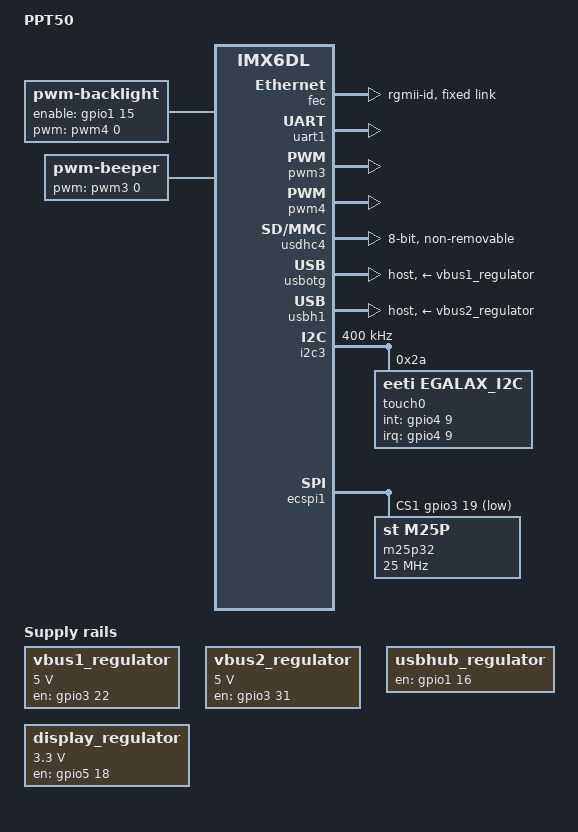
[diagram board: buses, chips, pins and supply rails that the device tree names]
// SPDX-License-Identifier: GPL-2.0+
/*
 * Copyright 2018 B&R Industrial Automation GmbH
 * Copyright 2012 Freescale Semiconductor, Inc.
 * Copyright 2011 Linaro Ltd.
 *
 * The code contained herein is licensed under the GNU General Public
 * License. You may obtain a copy of the GNU General Public License
 * Version 2 or later at the following locations:
 *
 * http://www.opensource.org/licenses/gpl-license.html
 * http://www.gnu.org/copyleft/gpl.html
 */

/dts-v1/;

#include "imx6dl.dtsi"
#include "imx6qdl-u-boot.dtsi"
#include <dt-bindings/pwm/pwm.h>
#include <include/dt-bindings/gpio/gpio.h>

/ {
	model = "PPT50";
	compatible = "fsl,imx6dl";

	config {
		u-boot,spl-payload-offset = <0x100000>;
	};

	fset: factory-settings {
		bl-version	= "ABCDEFGHIJKLMNOPQRSTUVWXYZ0123456789";
		order-no	= "ABCDEFGHIJKLMNOPQRSTUVWXYZ0123456789";
		hw-revision	= "ABCDEFGHIJKLMNOPQRSTUVWXYZ0123456789";
		serial-no	= <0>;
		device-id	= <0x0>;
		parent-id	= <0x0>;
		hw-variant	= <0x0>;
	};

	aliases {
		ds1timing0 = &timing0;
		ds1timing1 = &timing1;
		ds1bkl = &backlight;
		fset = &fset;
		mxcfb0 = &mxcfb0;
		touch0 = &touch0;
		touch1 = &touch1;
		touch2 = &touch2;
		display_regulator = &display_regulator;
		ldb = &ldb;
		mmc0 = &usdhc4;
	};

	chosen {
		stdout-path = "serial0:115200n8";
	};

	mxcfb0: fb@0 {
		compatible = "fsl,mxc_sdc_fb";
		disp_dev = "ldb";
		interface_pix_fmt = "RGB24";
		default_bpp = <32>;
		int_clk = <0>;
		late_init = <0>;
		rotation = <0>;
		status = "okay";
	};

	lcd@0 {
		compatible = "fsl,lcd";
		vlcd-supply = <&display_regulator>;
		ipu_id = <0>;
		disp_id = <0>;
		default_ifmt = "RGB24";
		status = "disabled";

		display-timings {
			native-mode = <&timing1>;
			timing1: lcd {
			};
		};
	};

	backlight: backlight {
		compatible = "pwm-backlight";
		pwms = <&pwm4 0 5000000>;
		brightness-levels = <0   1   2   3   4   5   6   7
			  8   9  10  11  12  13  14  15
			 16  17  18  19  20  21  22  23
			 24  25  26  27  28  29  30  31
			 32  33  34  35  36  37  38  39
			 40  41  42  43  44  45  46  47
			 48  49  50  51  52  53  54  55
			 56  57  58  59  60  61  62  63
			 64  65  66  67  68  69  70  71
			 72  73  74  75  76  77  78  79
			 80  81  82  83  84  85  86  87
			 88  89  90  91  92  93  94  95
			 96  97  98  99 100>;
		default-brightness-level = <0>;
		status = "okay";

		enable-gpios = <&gpio1 15 GPIO_ACTIVE_HIGH>;
	};

	beeper: pwm-beep {
		compatible = "pwm-beeper";
		pwms = <&pwm3 0 0 0>;
	};

	vbus1_regulator: regulator@1 {
		bootph-all;
		compatible = "regulator-fixed";
		regulator-name = "vbus1_regulator";
		regulator-min-microvolt = <5000000>;
		regulator-max-microvolt = <5000000>;
		gpio = <&gpio3 22 GPIO_ACTIVE_HIGH>;
		enable-active-high;
	};
	vbus2_regulator: regulator@2 {
		compatible = "regulator-fixed";
		regulator-name = "vbus2_regulator";
		regulator-min-microvolt = <5000000>;
		regulator-max-microvolt = <5000000>;
		gpio = <&gpio3 31 GPIO_ACTIVE_HIGH>;
		enable-active-high;
	};
	usbhub_regulator: gpio-regulator@3 {
		compatible = "regulator-gpio";
		regulator-name = "ushbub_regulator";
		enable-gpio = <&gpio1 16 GPIO_ACTIVE_HIGH>;
		enable-active-high;
		enable-at-boot;
		states = <0 0 1 1>;
	};
	display_regulator: regulator@4 {
		compatible = "regulator-fixed";
		regulator-name = "display_regulator";
		regulator-min-microvolt = <3300000>;
		regulator-max-microvolt = <3300000>;
		gpio = <&gpio5 18 GPIO_ACTIVE_HIGH>;
		enable-active-high;
		startup-delay-us = <1000>;
	};
};

&fec {
	phy-mode = "rgmii-id";
	status = "okay";

	fixed-link {
		speed = <1000>;
		full-duplex;
	};
};

&uart1 {
	bootph-pre-ram;
	bootph-all;
	status = "okay";
};

&pwm3 {
	status = "okay";
};

&pwm4 {
	#pwm-cells = <2>;
	status = "okay";
};

&ldb {
	status = "disabled";
	vldb-supply = <&display_regulator>;

	lvds-channel@0 {
		fsl,data-mapping = "spwg";
		fsl,data-width = <24>;
		primary;
		status = "okay";
		crtc = "ipu1-di0";

		display-timings {
			native-mode = <&timing0>;
			timing0: lcd {
			};
		};
	};
};

&usdhc4 {
	non-removable;
	bus-width = <8>;
	status = "okay";
};

&usbotg {
	vbus-supply = <&vbus1_regulator>;
	dr_mode = "host";
	status = "okay";
};

&usbh1 {
	vbus-supply = <&vbus2_regulator>;
	dr_mode = "host";
	status = "okay";
};

&i2c3 {
	clock-frequency = <400000>;
	status = "okay";

	touch0: egalax_i2c@2a {
		compatible = "eeti,egalax_i2c";
		reg = <0x2a>;
		interrupt-parent = <&gpio4>;
		interrupts = <9 2>;
		int-gpios = <&gpio4 9 GPIO_ACTIVE_HIGH>;
	};

	touch1: gt911@5d {
		compatible = "goodix,gt911";
		reg = <0x5d>;
		interrupt-parent = <&gpio4>;
		interrupts = <9 2>;
		irq-gpios = <&gpio4 9 GPIO_ACTIVE_HIGH>;
		reset-gpios = <&gpio4 11 GPIO_ACTIVE_HIGH>;
		status = "disabled";
	};

	touch2: i2c-hid-dev@2c {
		compatible = "hid-over-i2c";
		reg = <0x2c>;
		hid-descr-addr = <0x0001>;
		interrupt-parent = <&gpio4>;
		interrupts = <9 2>;
		status = "disabled";
	};
};

&gpio1 {
	bootph-pre-ram;
	status = "okay";
};

&gpio2 {
	bootph-pre-ram;
	status = "okay";
};

&gpio3 {
	bootph-pre-ram;
	status = "okay";
};

&gpio4 {
	bootph-pre-ram;
	status = "okay";
};

&usdhc4 {
	status = "okay";
};

&ecspi1 {
	bootph-pre-ram;
	cs-gpios = <&gpio3 19 GPIO_ACTIVE_LOW>, <&gpio3 19 GPIO_ACTIVE_LOW>;
	status = "okay";
	spi-max-frequency = <25000000>;

	m25p32@1 {
		bootph-pre-ram;
		#address-cells = <1>;
		#size-cells = <1>;
		compatible = "st,m25p", "jedec,spi-nor";
		spi-max-frequency = <25000000>;
		reg = <1>;
	};
};
